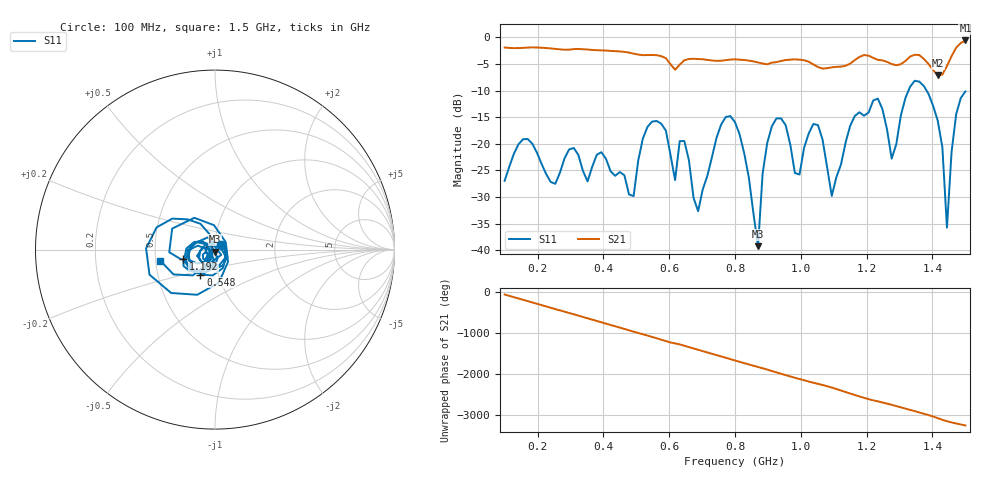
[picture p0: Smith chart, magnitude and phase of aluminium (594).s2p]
! NanoVNA-App
! Date: 2025-09-25 14:59:54
! Start: 100MHz Stop: 1,5GHz Points: 101
! S-Parameter data: F S11 S21 S12 S22
# Hz S RI R 50
!  Frequency  S11_Real  S11_Imag  S21_Real  S21_Imag  S12_Real  S12_Imag  S22_Real  S22_Imag
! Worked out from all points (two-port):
!   101 points, 100 MHz to 1.5 GHz, reference 50 ohm
!   highest |S21| = -0.59 dB at 1.5 GHz (marker M1); lowest = -7.2 dB at 1.416 GHz (marker M2)
!   |S21| within 3 dB of the highest: start of sweep to 577.9 MHz; 1.458 GHz to end of sweep (the widest 2 of 4)
!   lowest |S11| = -39.2 dB at 870 MHz (marker M3), VSWR 1.02, Z = 50.2 - j1.08 ohm
!   |S11| at or under -10 dB: start of sweep to 1.327 GHz; 1.382 GHz to end of sweep
!   S12 and S22 are empty: the file has one direction only
!   S11 on the Smith chart (normalised r, x): 100 MHz: 1.07, +0.06; 548 MHz: 0.82, -0.23; 1.192 GHz: 0.70, -0.08; 1.5 GHz: 0.53, -0.07
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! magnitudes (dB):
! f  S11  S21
! 100 MHz  -27.0  -1.9
! 156 MHz  -19.1  -2.0
! 338 MHz  -25.1  -2.2
! 492 MHz  -29.8  -3.1
! 548 MHz  -15.8  -3.3
! 576 MHz  -16.2  -3.5
! 646 MHz  -19.5  -4.3
! 688 MHz  -32.6  -4.1
! 800 MHz  -15.9  -4.1
! 870 MHz  -39.2  -4.7
! 912 MHz  -16.7  -4.8
! 996 MHz  -25.8  -4.2
! 1.038 GHz  -16.3  -5.1
! 1.094 GHz  -29.8  -5.6
! 1.192 GHz  -14.7  -3.3
! 1.234 GHz  -11.5  -4.2
! 1.276 GHz  -22.8  -5.0
! 1.346 GHz  -8.2  -3.3
! 1.416 GHz  -15.7  -7.2
! 1.444 GHz  -35.7  -5.4
! 1.472 GHz  -14.4  -1.9
! 1.5 GHz  -10.2  -0.6
